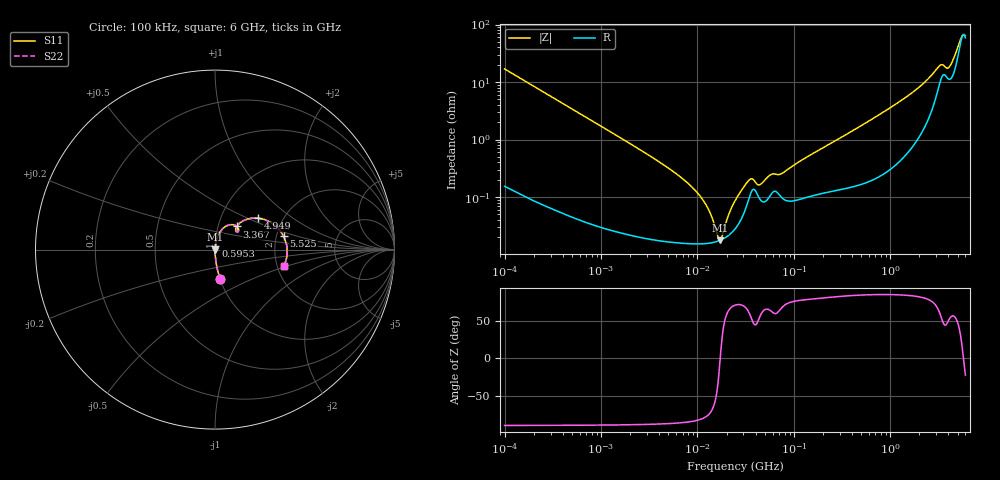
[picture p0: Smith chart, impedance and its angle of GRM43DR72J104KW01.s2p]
!Murata Part Number: GRM43DR72J104KW01
!These Parameters are Measured in Series Mode Connection
!Data Generated on Mar 30, 2021
!  o--ll--o
!Port1  Port2
!  o------o
!Operation Temp=25[degC], DC Bias Voltage=0[V]
!Freq. Start=100[kHz] Stop=6[GHz] 401[Steps]
# Hz S RI R 50
!Freq.(Hz) S11(Real) S11(Imag) S21(Real) S21(Imag) S12(Real) S12(Imag) S22(Real) S22(Imag)
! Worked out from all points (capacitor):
!   401 points, 100 kHz to 6 GHz, reference 50 ohm
!   read as one part in series: C = 93.9 nF near 105.7 kHz
!   lowest |Z| = 17.7 mohm at 17.13 MHz (marker M1)
!   series resonance near 17.21 MHz, so ESL is about 910 pH
!   S11 on the Smith chart (normalised r, x): 100 kHz: 1.00, -0.34; 595.3 MHz: 1.00, +0.04; 3.367 GHz: 1.23, +0.33; 4.949 GHz: 1.50, +0.58; 5.525 GHz: 2.20, +0.38; 6 GHz: 2.18, -0.48
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100000  0.0292 -0.164  0.9708 0.164  0.9708 0.164  0.0292 -0.164
631452  0.00111 -0.027  0.9989 0.027  0.9989 0.027  0.00111 -0.027
3987316  0.000191 -0.00412  0.9998 0.00412  0.9998 0.00412  0.000191 -0.00412
7104501  0.000161 -0.00204  0.9998 0.00204  0.9998 0.00204  0.000161 -0.00204
1.044164e7  0.000155 -0.00107  0.9998 0.00107  0.9998 0.00107  0.000155 -0.00107
1.301164e7  0.000158 -0.000591  0.9998 0.000591  0.9998 0.000591  0.000158 -0.000591
1.621418e7  0.000171 -0.000126  0.9998 0.000126  0.9998 0.000126  0.000171 -0.000126
1.713112e7  0.000177 -9.3e-06  0.9998 9.3e-06  0.9998 9.3e-06  0.000177 -9.3e-06
2.517799e7  0.000296 0.000884  0.9997 -0.000884  0.9997 -0.000884  0.000296 0.000884
3.502398e7  0.00107 0.00173  0.9989 -0.00173  0.9989 -0.00173  0.00107 0.00173
4.486152e7  0.000898 0.00139  0.9991 -0.00139  0.9991 -0.00139  0.000898 0.00139
5.746221e7  0.0011 0.00219  0.9989 -0.00219  0.9989 -0.00219  0.0011 0.00219
7.565474e7  0.000965 0.00241  0.999 -0.00241  0.999 -0.00241  0.000965 0.00241
1.546735e8  0.00108 0.00552  0.9989 -0.00552  0.9989 -0.00552  0.00108 0.00552
5.953049e8  0.00227 0.0207  0.9977 -0.0207  0.9977 -0.0207  0.00227 0.0207
9.76689e8  0.00414 0.0346  0.9959 -0.0346  0.9959 -0.0346  0.00414 0.0346
2.355095e9  0.0284 0.0988  0.9716 -0.0988  0.9716 -0.0988  0.0284 0.0988
3.367428e9  0.122 0.1292  0.878 -0.1292  0.878 -0.1292  0.122 0.1292
4.082404e9  0.1153 0.1153  0.8847 -0.1153  0.8847 -0.1153  0.1153 0.1153
4.949184e9  0.2399 0.1754  0.7601 -0.1754  0.7601 -0.1754  0.2399 0.1754
5.524782e9  0.3839 0.0738  0.6161 -0.0738  0.6161 -0.0738  0.3839 0.0738
6e9  0.3848 -0.0935  0.6152 0.0935  0.6152 0.0935  0.3848 -0.0935
